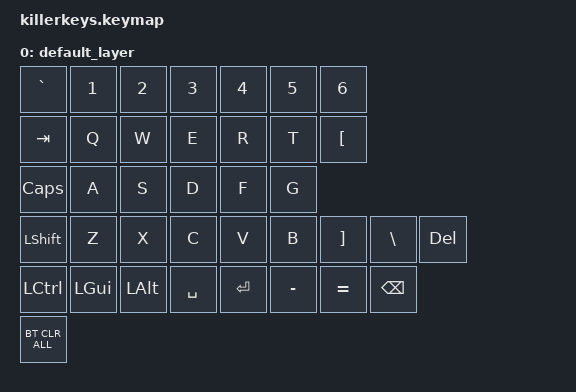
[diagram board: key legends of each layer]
#include <behaviors.dtsi>
#include <dt-bindings/zmk/keys.h>
#include <dt-bindings/zmk/bt.h>

/ {
    keymap {
        compatible = "zmk,keymap";
        default_layer {
            bindings = <
                &kp GRAVE &kp N1    &kp N2   &kp N3    &kp N4   &kp N5    &kp N6
                &kp TAB   &kp Q     &kp W    &kp E     &kp R    &kp T     &kp LBKT
                &kp CAPS  &kp A     &kp S    &kp D     &kp F    &kp G
                &kp LSHFT &kp Z     &kp X    &kp C     &kp V    &kp B     &kp RBKT  &kp BSLH  &kp DEL
                &kp LCTRL &kp LGUI  &kp LALT &kp SPACE &kp RET  &kp MINUS &kp EQUAL &kp BSPC
                &bt BT_CLR_ALL
            >;
        };
    };
};
